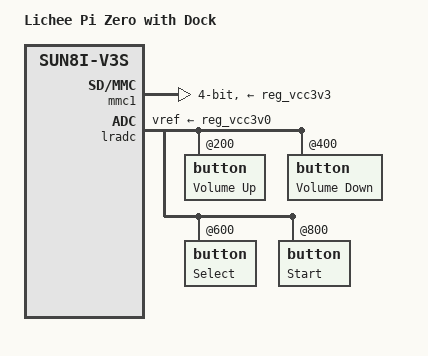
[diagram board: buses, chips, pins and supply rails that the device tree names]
#include "sun8i-v3s-licheepi-zero.dts"

#include <dt-bindings/input/input.h>

/ {
	model = "Lichee Pi Zero with Dock";
	compatible = "licheepi,licheepi-zero-dock", "licheepi,licheepi-zero",
		     "allwinner,sun8i-v3s";

	leds {
		/* The LEDs use PG0~2 pins, which conflict with MMC1 */
		status = "disabled";
	};
};

&mmc1 {
	broken-cd;
	bus-width = <4>;
	vmmc-supply = <&reg_vcc3v3>;
	status = "okay";
};

&lradc {
	vref-supply = <&reg_vcc3v0>;
	status = "okay";

	button@200 {
		label = "Volume Up";
		linux,code = <KEY_VOLUMEUP>;
		channel = <0>;
		voltage = <200000>;
	};

	button@400 {
		label = "Volume Down";
		linux,code = <KEY_VOLUMEDOWN>;
		channel = <0>;
		voltage = <400000>;
	};

	button@600 {
		label = "Select";
		linux,code = <KEY_SELECT>;
		channel = <0>;
		voltage = <600000>;
	};

	button@800 {
		label = "Start";
		linux,code = <KEY_OK>;
		channel = <0>;
		voltage = <800000>;
	};
};
